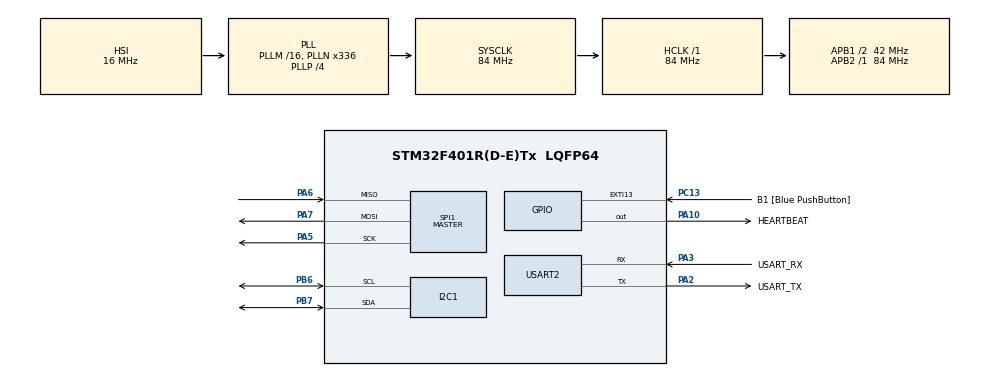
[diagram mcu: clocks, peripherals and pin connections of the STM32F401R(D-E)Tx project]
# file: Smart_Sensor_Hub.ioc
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Dma.I2C1_RX.0.Direction=DMA_PERIPH_TO_MEMORY
Dma.I2C1_RX.0.FIFOMode=DMA_FIFOMODE_DISABLE
Dma.I2C1_RX.0.Instance=DMA1_Stream0
Dma.I2C1_RX.0.MemDataAlignment=DMA_MDATAALIGN_BYTE
Dma.I2C1_RX.0.MemInc=DMA_MINC_ENABLE
Dma.I2C1_RX.0.Mode=DMA_NORMAL
Dma.I2C1_RX.0.PeriphDataAlignment=DMA_PDATAALIGN_BYTE
Dma.I2C1_RX.0.PeriphInc=DMA_PINC_DISABLE
Dma.I2C1_RX.0.Priority=DMA_PRIORITY_LOW
Dma.I2C1_TX.1.Direction=DMA_MEMORY_TO_PERIPH
Dma.I2C1_TX.1.FIFOMode=DMA_FIFOMODE_DISABLE
Dma.I2C1_TX.1.Instance=DMA1_Stream6
Dma.I2C1_TX.1.MemDataAlignment=DMA_MDATAALIGN_BYTE
Dma.I2C1_TX.1.MemInc=DMA_MINC_ENABLE
Dma.I2C1_TX.1.Mode=DMA_NORMAL
Dma.I2C1_TX.1.PeriphDataAlignment=DMA_PDATAALIGN_BYTE
Dma.I2C1_TX.1.PeriphInc=DMA_PINC_DISABLE
Dma.I2C1_TX.1.Priority=DMA_PRIORITY_LOW
Dma.Request0=I2C1_RX
Dma.Request1=I2C1_TX
Dma.Request2=SPI1_RX
Dma.Request3=SPI1_TX
Dma.SPI1_RX.2.Direction=DMA_PERIPH_TO_MEMORY
Dma.SPI1_RX.2.FIFOMode=DMA_FIFOMODE_DISABLE
Dma.SPI1_RX.2.Instance=DMA2_Stream0
Dma.SPI1_RX.2.MemDataAlignment=DMA_MDATAALIGN_BYTE
Dma.SPI1_RX.2.MemInc=DMA_MINC_ENABLE
Dma.SPI1_RX.2.Mode=DMA_NORMAL
Dma.SPI1_RX.2.PeriphDataAlignment=DMA_PDATAALIGN_BYTE
Dma.SPI1_RX.2.PeriphInc=DMA_PINC_DISABLE
Dma.SPI1_RX.2.Priority=DMA_PRIORITY_HIGH
Dma.SPI1_TX.3.Direction=DMA_MEMORY_TO_PERIPH
Dma.SPI1_TX.3.FIFOMode=DMA_FIFOMODE_DISABLE
Dma.SPI1_TX.3.Instance=DMA2_Stream3
Dma.SPI1_TX.3.MemDataAlignment=DMA_MDATAALIGN_BYTE
Dma.SPI1_TX.3.MemInc=DMA_MINC_ENABLE
Dma.SPI1_TX.3.Mode=DMA_NORMAL
Dma.SPI1_TX.3.PeriphDataAlignment=DMA_PDATAALIGN_BYTE
Dma.SPI1_TX.3.PeriphInc=DMA_PINC_DISABLE
Dma.SPI1_TX.3.Priority=DMA_PRIORITY_LOW
FREERTOS.Tasks01=defaultTask,24,128,StartDefaultTask,Default,NULL,Dynamic,NULL,NULL
FREERTOS.configUSE_NEWLIB_REENTRANT=1
Mcu.Family=STM32F4
Mcu.Name=STM32F401R(D-E)Tx
Mcu.Package=LQFP64
NVIC.DMA1_Stream0_IRQn=true\:5\:0\:false\:false\:true\:true\:false\:true\:true
NVIC.DMA1_Stream6_IRQn=true\:5\:0\:false\:false\:true\:true\:false\:true\:true
NVIC.DMA2_Stream0_IRQn=true\:5\:0\:false\:false\:true\:true\:false\:true\:true
NVIC.DMA2_Stream3_IRQn=true\:5\:0\:false\:false\:true\:true\:false\:true\:true
NVIC.I2C1_ER_IRQn=true\:5\:0\:false\:false\:true\:true\:true\:true\:true
NVIC.I2C1_EV_IRQn=true\:5\:0\:false\:false\:true\:true\:true\:true\:true
NVIC.PriorityGroup=NVIC_PRIORITYGROUP_4
NVIC.SPI1_IRQn=true\:5\:0\:false\:false\:true\:true\:true\:true\:true
NVIC.TIM5_IRQn=true\:15\:0\:false\:false\:true\:false\:false\:true\:true
NVIC.TimeBase=TIM5_IRQn
NVIC.TimeBaseIP=TIM5
PA10.GPIO_Label=HEARTBEAT
PA10.Signal=GPIO_Output
PA13.GPIO_Label=TMS
PA13.Mode=Trace_Asynchronous_SW
PA13.Signal=SYS_JTMS-SWDIO
PA14.GPIO_Label=TCK
PA14.Mode=Trace_Asynchronous_SW
PA14.Signal=SYS_JTCK-SWCLK
PA2.GPIO_Label=USART_TX
PA2.GPIO_Mode=GPIO_MODE_AF_PP
PA2.GPIO_PuPd=GPIO_NOPULL
PA2.GPIO_Speed=GPIO_SPEED_FREQ_LOW
PA2.Mode=Asynchronous
PA2.Signal=USART2_TX
PA3.GPIO_Label=USART_RX
PA3.GPIO_Mode=GPIO_MODE_AF_PP
PA3.GPIO_PuPd=GPIO_NOPULL
PA3.GPIO_Speed=GPIO_SPEED_FREQ_LOW
PA3.Mode=Asynchronous
PA3.Signal=USART2_RX
PA5.Mode=Full_Duplex_Master
PA5.Signal=SPI1_SCK
PA6.Mode=Full_Duplex_Master
PA6.Signal=SPI1_MISO
PA7.Mode=Full_Duplex_Master
PA7.Signal=SPI1_MOSI
PB3.GPIO_Label=SWO
PB3.Mode=Trace_Asynchronous_SW
PB3.Signal=SYS_JTDO-SWO
PB6.Mode=I2C
PB6.Signal=I2C1_SCL
PB7.Mode=I2C
PB7.Signal=I2C1_SDA
PC13-ANTI_TAMP.GPIO_Label=B1 [Blue PushButton]
PC13-ANTI_TAMP.GPIO_ModeDefaultEXTI=GPIO_MODE_IT_FALLING
PC13-ANTI_TAMP.GPIO_PuPd=GPIO_NOPULL
PC13-ANTI_TAMP.Signal=GPXTI13
PC14-OSC32_IN.Mode=LSE-External-Oscillator
PC14-OSC32_IN.Signal=RCC_OSC32_IN
PC15-OSC32_OUT.Mode=LSE-External-Oscillator
PC15-OSC32_OUT.Signal=RCC_OSC32_OUT
PH0\ -\ OSC_IN.Mode=HSE-External-Clock-Source
PH0\ -\ OSC_IN.Signal=RCC_OSC_IN
PH1\ -\ OSC_OUT.Mode=HSE-External-Clock-Source
PH1\ -\ OSC_OUT.Signal=RCC_OSC_OUT
ProjectManager.HeapSize=0x200
ProjectManager.StackSize=0x400
ProjectManager.TargetToolchain=STM32CubeIDE
RCC.48MHZClocksFreq_Value=48000000
RCC.AHBFreq_Value=84000000
RCC.APB1CLKDivider=RCC_HCLK_DIV2
RCC.APB1Freq_Value=42000000
RCC.APB1TimFreq_Value=84000000
RCC.APB2Freq_Value=84000000
RCC.APB2TimFreq_Value=84000000
RCC.CortexFreq_Value=84000000
RCC.HCLKFreq_Value=84000000
RCC.HSE_VALUE=8000000
RCC.HSI_VALUE=16000000
RCC.PLLN=336
RCC.PLLP=RCC_PLLP_DIV4
RCC.PLLQ=7
RCC.SYSCLKFreq_VALUE=84000000
RCC.SYSCLKSource=RCC_SYSCLKSOURCE_PLLCLK
RCC.VCOOutputFreq_Value=336000000
SPI1.Direction=SPI_DIRECTION_2LINES
SPI1.Mode=SPI_MODE_MASTER
SPI1.VirtualType=VM_MASTER
USART2.VirtualMode=VM_ASYNC
VP_FREERTOS_VS_CMSIS_V2.Mode=CMSIS_V2
VP_SYS_VS_tim5.Mode=TIM5
board=NUCLEO-F401RE

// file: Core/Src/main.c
/* USER CODE BEGIN Header */
/**
  ******************************************************************************
  * @file           : main.c
  * @brief          : Main program body
  ******************************************************************************
  * @attention
  *
  * Copyright (c) 2026 STMicroelectronics.
  * All rights reserved.
  *
  * This software is licensed under terms that can be found in the LICENSE file
  * in the root directory of this software component.
  * If no LICENSE file comes with this software, it is provided AS-IS.
  *
  ******************************************************************************
  */
/* USER CODE END Header */
#include "main.h"
#include "cmsis_os.h"

/* USER CODE BEGIN Includes */
#include <stdio.h>   // For sprintf
#include <string.h>  // For strlen
#include "mpu6050.h"
#include "bme280.h"
#include "app_freertos.h"
/* USER CODE END Includes */

I2C_HandleTypeDef hi2c1;
DMA_HandleTypeDef hdma_i2c1_rx;
DMA_HandleTypeDef hdma_i2c1_tx;

SPI_HandleTypeDef hspi1;
DMA_HandleTypeDef hdma_spi1_rx;
DMA_HandleTypeDef hdma_spi1_tx;

UART_HandleTypeDef huart2;

/* Definitions for defaultTask */
osThreadId_t defaultTaskHandle;
const osThreadAttr_t defaultTask_attributes = {
  .name = "defaultTask",
  .stack_size = 128 * 4,
  .priority = (osPriority_t) osPriorityNormal,
};
/* USER CODE BEGIN PV */
osMessageQueueId_t sensorQueueHandle;
/* USER CODE END PV */

void SystemClock_Config(void);
static void MX_GPIO_Init(void);
static void MX_DMA_Init(void);
static void MX_USART2_UART_Init(void);
static void MX_I2C1_Init(void);
static void MX_SPI1_Init(void);
void StartDefaultTask(void *argument);

int main(void)
{

  /* MCU Configuration--------------------------------------------------------*/

  /* Reset of all peripherals, Initializes the Flash interface and the Systick. */
  HAL_Init();

  /* Configure the system clock */
  SystemClock_Config();

  /* Initialize all configured peripherals */
  MX_GPIO_Init();
  MX_DMA_Init();
  MX_USART2_UART_Init();
  MX_I2C1_Init();
  MX_SPI1_Init();
  /* USER CODE BEGIN 2 */
  char msg[64];
    HAL_StatusTypeDef result;
    uint8_t i;

    // Header message to your computer
    HAL_UART_Transmit(&huart2, (uint8_t*)"\r\nStarting I2C Scanner...\r\n", 27, 100);

    for (i=1; i<128; i++)
    {
      /* * .instping the address to see if a device acknowledges
       * We shift the address left by 1 because I2C addresses are 7 bits
       * followed by a read/write bit.
       */
      result = HAL_I2C_IsDeviceReady(&hi2c1, (uint8_t)(i<<1), 3, 5);
      if (result == HAL_OK)
      {
        sprintf(msg, "Found device at ID: 0x%02X\r\n", i);
        HAL_UART_Transmit(&huart2, (uint8_t*)msg, strlen(msg), 100);
      }
    }
    if (MPU6050_Init(&hi2c1) == 0) {
        HAL_UART_Transmit(&huart2, (uint8_t*)"MPU6050 Initialized!\r\n", 22, 100);
    } else {
        HAL_UART_Transmit(&huart2, (uint8_t*)"MPU6050 Failed!\r\n", 17, 100);
    }
    if (BME280_Init(&hi2c1) == 0) {
          HAL_UART_Transmit(&huart2, (uint8_t*)"BME280 Initialized!\r\n", 21, 100);
      } else {
          HAL_UART_Transmit(&huart2, (uint8_t*)"BME280 Failed!\r\n", 17, 100);
      }
    HAL_UART_Transmit(&huart2, (uint8_t*)"Scan Complete.\r\n", 16, 100);
    /* Create a queue for 5 messages of type SensorData_t */
    sensorQueueHandle = osMessageQueueNew(5, sizeof(SensorData_t), NULL);
    /* USER CODE END 2 */

  /* Init scheduler */
  osKernelInitialize();

  /* Create the thread(s) */
  /* creation of defaultTask */
  defaultTaskHandle = osThreadNew(StartDefaultTask, NULL, &defaultTask_attributes);

  /* Start scheduler */
  osKernelStart();

  /* We should never get here as control is now taken by the scheduler */

  /* Infinite loop */
  while (1)
  {

  }
}

void SystemClock_Config(void)
{
  RCC_OscInitTypeDef RCC_OscInitStruct = {0};
  RCC_ClkInitTypeDef RCC_ClkInitStruct = {0};

  /** Configure the main internal regulator output voltage
  */
  __HAL_RCC_PWR_CLK_ENABLE();
  __HAL_PWR_VOLTAGESCALING_CONFIG(PWR_REGULATOR_VOLTAGE_SCALE2);

  /** Initializes the RCC Oscillators according to the specified parameters
  * in the RCC_OscInitTypeDef structure.
  */
  RCC_OscInitStruct.OscillatorType = RCC_OSCILLATORTYPE_HSI;
  RCC_OscInitStruct.HSIState = RCC_HSI_ON;
  RCC_OscInitStruct.HSICalibrationValue = RCC_HSICALIBRATION_DEFAULT;
  RCC_OscInitStruct.PLL.PLLState = RCC_PLL_ON;
  RCC_OscInitStruct.PLL.PLLSource = RCC_PLLSOURCE_HSI;
  RCC_OscInitStruct.PLL.PLLM = 16;
  RCC_OscInitStruct.PLL.PLLN = 336;
  RCC_OscInitStruct.PLL.PLLP = RCC_PLLP_DIV4;
  RCC_OscInitStruct.PLL.PLLQ = 7;
  if (HAL_RCC_OscConfig(&RCC_OscInitStruct) != HAL_OK)
  {
    Error_Handler();
  }

  /** Initializes the CPU, AHB and APB buses clocks
  */
  RCC_ClkInitStruct.ClockType = RCC_CLOCKTYPE_HCLK|RCC_CLOCKTYPE_SYSCLK
                              |RCC_CLOCKTYPE_PCLK1|RCC_CLOCKTYPE_PCLK2;
  RCC_ClkInitStruct.SYSCLKSource = RCC_SYSCLKSOURCE_PLLCLK;
  RCC_ClkInitStruct.AHBCLKDivider = RCC_SYSCLK_DIV1;
  RCC_ClkInitStruct.APB1CLKDivider = RCC_HCLK_DIV2;
  RCC_ClkInitStruct.APB2CLKDivider = RCC_HCLK_DIV1;

  if (HAL_RCC_ClockConfig(&RCC_ClkInitStruct, FLASH_LATENCY_2) != HAL_OK)
  {
    Error_Handler();
  }
}

static void MX_I2C1_Init(void)
{

  hi2c1.Instance = I2C1;
  hi2c1.Init.ClockSpeed = 100000;
  hi2c1.Init.DutyCycle = I2C_DUTYCYCLE_2;
  hi2c1.Init.OwnAddress1 = 0;
  hi2c1.Init.AddressingMode = I2C_ADDRESSINGMODE_7BIT;
  hi2c1.Init.DualAddressMode = I2C_DUALADDRESS_DISABLE;
  hi2c1.Init.OwnAddress2 = 0;
  hi2c1.Init.GeneralCallMode = I2C_GENERALCALL_DISABLE;
  hi2c1.Init.NoStretchMode = I2C_NOSTRETCH_DISABLE;
  if (HAL_I2C_Init(&hi2c1) != HAL_OK)
  {
    Error_Handler();
  }

}

static void MX_SPI1_Init(void)
{

  /* SPI1 parameter configuration*/
  hspi1.Instance = SPI1;
  hspi1.Init.Mode = SPI_MODE_MASTER;
  hspi1.Init.Direction = SPI_DIRECTION_2LINES;
  hspi1.Init.DataSize = SPI_DATASIZE_8BIT;
  hspi1.Init.CLKPolarity = SPI_POLARITY_LOW;
  hspi1.Init.CLKPhase = SPI_PHASE_1EDGE;
  hspi1.Init.NSS = SPI_NSS_SOFT;
  hspi1.Init.BaudRatePrescaler = SPI_BAUDRATEPRESCALER_2;
  hspi1.Init.FirstBit = SPI_FIRSTBIT_MSB;
  hspi1.Init.TIMode = SPI_TIMODE_DISABLE;
  hspi1.Init.CRCCalculation = SPI_CRCCALCULATION_DISABLE;
  hspi1.Init.CRCPolynomial = 10;
  if (HAL_SPI_Init(&hspi1) != HAL_OK)
  {
    Error_Handler();
  }

}

static void MX_USART2_UART_Init(void)
{

  huart2.Instance = USART2;
  huart2.Init.BaudRate = 115200;
  huart2.Init.WordLength = UART_WORDLENGTH_8B;
  huart2.Init.StopBits = UART_STOPBITS_1;
  huart2.Init.Parity = UART_PARITY_NONE;
  huart2.Init.Mode = UART_MODE_TX_RX;
  huart2.Init.HwFlowCtl = UART_HWCONTROL_NONE;
  huart2.Init.OverSampling = UART_OVERSAMPLING_16;
  if (HAL_UART_Init(&huart2) != HAL_OK)
  {
    Error_Handler();
  }

}

static void MX_DMA_Init(void)
{

  /* DMA controller clock enable */
  __HAL_RCC_DMA1_CLK_ENABLE();
  __HAL_RCC_DMA2_CLK_ENABLE();

  /* DMA interrupt init */
  /* DMA1_Stream0_IRQn interrupt configuration */
  HAL_NVIC_SetPriority(DMA1_Stream0_IRQn, 5, 0);
  HAL_NVIC_EnableIRQ(DMA1_Stream0_IRQn);
  /* DMA1_Stream6_IRQn interrupt configuration */
  HAL_NVIC_SetPriority(DMA1_Stream6_IRQn, 5, 0);
  HAL_NVIC_EnableIRQ(DMA1_Stream6_IRQn);
  /* DMA2_Stream0_IRQn interrupt configuration */
  HAL_NVIC_SetPriority(DMA2_Stream0_IRQn, 5, 0);
  HAL_NVIC_EnableIRQ(DMA2_Stream0_IRQn);
  /* DMA2_Stream3_IRQn interrupt configuration */
  HAL_NVIC_SetPriority(DMA2_Stream3_IRQn, 5, 0);
  HAL_NVIC_EnableIRQ(DMA2_Stream3_IRQn);

}

static void MX_GPIO_Init(void)
{
  GPIO_InitTypeDef GPIO_InitStruct = {0};

  /* GPIO Ports Clock Enable */
  __HAL_RCC_GPIOC_CLK_ENABLE();
  __HAL_RCC_GPIOH_CLK_ENABLE();
  __HAL_RCC_GPIOA_CLK_ENABLE();
  __HAL_RCC_GPIOB_CLK_ENABLE();

  /*Configure GPIO pin Output Level */
  HAL_GPIO_WritePin(HEARTBEAT_GPIO_Port, HEARTBEAT_Pin, GPIO_PIN_RESET);

  /*Configure GPIO pin : B1_Pin */
  GPIO_InitStruct.Pin = B1_Pin;
  GPIO_InitStruct.Mode = GPIO_MODE_IT_FALLING;
  GPIO_InitStruct.Pull = GPIO_NOPULL;
  HAL_GPIO_Init(B1_GPIO_Port, &GPIO_InitStruct);

  /*Configure GPIO pin : HEARTBEAT_Pin */
  GPIO_InitStruct.Pin = HEARTBEAT_Pin;
  GPIO_InitStruct.Mode = GPIO_MODE_OUTPUT_PP;
  GPIO_InitStruct.Pull = GPIO_NOPULL;
  GPIO_InitStruct.Speed = GPIO_SPEED_FREQ_LOW;
  HAL_GPIO_Init(HEARTBEAT_GPIO_Port, &GPIO_InitStruct);

}

void StartDefaultTask(void *argument)
{

	/* USER CODE BEGIN 5 */
	for(;;)
	{
	  osDelay(1000); // Slowed down slightly to 2 readings per second for readability
	}
	/* USER CODE END 5 */
}

void HAL_TIM_PeriodElapsedCallback(TIM_HandleTypeDef *htim)
{
  if (htim->Instance == TIM5)
  {
    HAL_IncTick();
  }
}

void Error_Handler(void)
{
  __disable_irq();
  while (1)
  {
  }
}

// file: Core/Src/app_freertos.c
/*
 * app_freertos.c
 *
 *      Author: Prashant Jha
 */
#include "app_freertos.h"
#include "logger.h"
#include <math.h>

// Bring in the handles we defined in main.c
extern I2C_HandleTypeDef hi2c1;
extern UART_HandleTypeDef huart2;
extern osMessageQueueId_t sensorQueueHandle;

/* --- TASK 1: THE PRODUCER (Sensor Hub) --- */
void StartSensorHubTask(void *argument) {
    SensorData_t data; // This is our "package"

    for(;;) {
        // 1. Read Raw Data
        MPU6050_Read_Accel(&hi2c1, &data.ax, &data.ay, &data.az);
        BME280_Read_All(&hi2c1, &data.temp, &data.pres);

        // 2. High-Precision Math for Altitude
        data.alt = 44330.0f * (1.0f - powf((data.pres / 1013.25f), (1.0f / 5.255f)));

        // 3. Drop the package in the mailbox
        // (0, 0) means: don't wait if the mailbox is full, just keep going
        osMessageQueuePut(sensorQueueHandle, &data, 0, 0);

        // Heartbeat LED to show the task is alive
        HAL_GPIO_TogglePin(GPIOA, GPIO_PIN_5);

        osDelay(100); // Sample at 10Hz
    }
}

/* --- TASK 2: THE CONSUMER (Logger) --- */
void StartLoggerTask(void *argument) {
    SensorData_t logPackage;
    LOG_Init(&huart2);

    for(;;) {
        // This task goes to sleep until a package arrives in the mailbox
        if (osMessageQueueGet(sensorQueueHandle, &logPackage, NULL, osWaitForever) == osOK) {

            // Package received! Print it to the Terminal
            LOG_Info("RTOS_ITC | Z:%.2f | T:%.1fC | P:%.1f | ALT:%.1fm\r\n",
                     logPackage.az, logPackage.temp, logPackage.pres, logPackage.alt);
        }
    }
}
